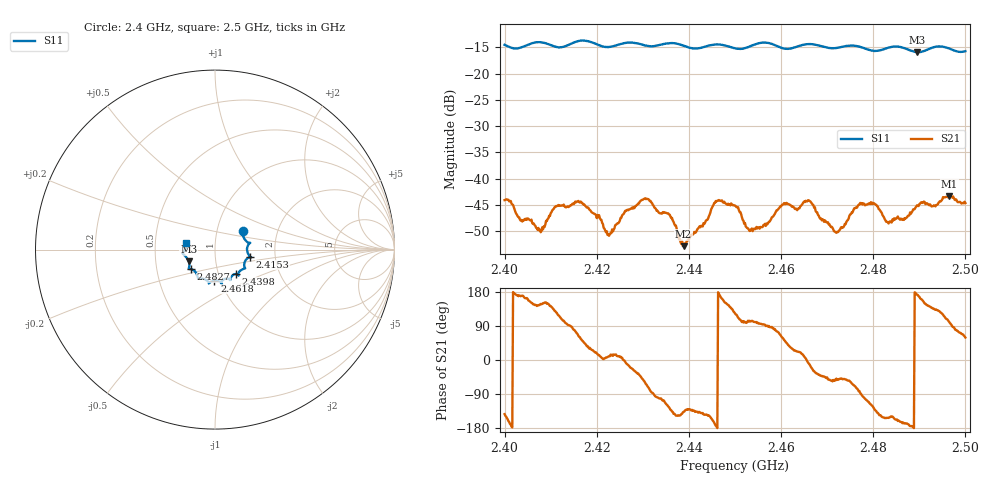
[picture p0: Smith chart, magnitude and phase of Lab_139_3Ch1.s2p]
# Hz S RI R 50
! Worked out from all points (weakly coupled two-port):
!   601 points, 2.4 GHz to 2.5 GHz, reference 50 ohm
!   highest |S21| = -43.42 dB at 2.4965 GHz (marker M1); lowest = -52.9 dB at 2.4388 GHz (marker M2)
!   lowest |S11| = -15.9 dB at 2.4895 GHz (marker M3), VSWR 1.38, Z = 37 - j5.01 ohm
!   |S11| at or under -10 dB: start of sweep to end of sweep
!   S12 and S22 are empty: the file has one direction only
!   S11 on the Smith chart (normalised r, x): 2.4 GHz: 1.33, +0.29; 2.4153 GHz: 1.48, -0.12; 2.4398 GHz: 1.21, -0.34; 2.4618 GHz: 0.94, -0.33; 2.4827 GHz: 0.75, -0.17; 2.5 GHz: 0.72, +0.06
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2.4e9  0.1555 0.1064  -0.00496 -0.00376  0 0  0 0
2.4075e9  0.196 0.0377  -0.00261 0.00185  0 0  0 0
2.415333e9  0.1965 -0.0392  0.00148 0.00584  0 0  0 0
2.416667e9  0.2024 -0.0433  0.00351 0.0048  0 0  0 0
2.422667e9  0.1643 -0.0724  0.0028 0.000484  0 0  0 0
2.43e9  0.1529 -0.1102  0.00396 -0.00487  0 0  0 0
2.433333e9  0.1298 -0.134  -0.000804 -0.00475  0 0  0 0
2.435833e9  0.1312 -0.145  -0.00276 -0.00358  0 0  0 0
2.438833e9  0.1236 -0.1373  -0.00165 -0.00155  0 0  0 0
2.439833e9  0.1154 -0.1358  -0.00172 -0.00197  0 0  0 0
2.446e9  0.0842 -0.1705  -0.00603 -0.000451  0 0  0 0
2.45e9  0.0655 -0.1618  -0.003 0.00463  0 0  0 0
2.4535e9  0.0368 -0.1803  -0.00069 0.0032  0 0  0 0
2.461833e9  -0.00347 -0.173  0.00458 0.0033  0 0  0 0
2.466667e9  -0.0348 -0.1879  0.00537 -0.00215  0 0  0 0
2.472e9  -0.0701 -0.1612  0.00198 -0.00229  0 0  0 0
2.477333e9  -0.0973 -0.1506  7.59e-05 -0.00582  0 0  0 0
2.482667e9  -0.1351 -0.1087  -0.00354 -0.00181  0 0  0 0
2.483333e9  -0.1401 -0.1084  -0.00331 -0.0017  0 0  0 0
2.4895e9  -0.146 -0.066  -0.00551 0.000733  0 0  0 0
2.4965e9  -0.1734 -0.0119  -0.00116 0.00664  0 0  0 0
2.5e9  -0.1591 0.0388  0.00298 0.00502  0 0  0 0
